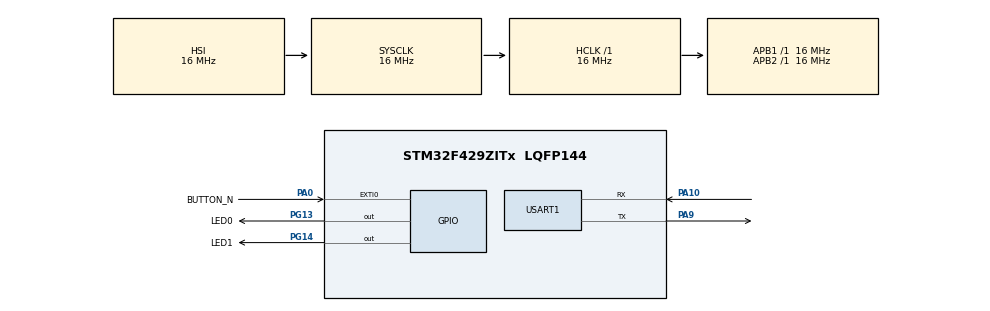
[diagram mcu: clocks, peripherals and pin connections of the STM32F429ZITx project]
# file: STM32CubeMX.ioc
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Mcu.Family=STM32F4
Mcu.Name=STM32F429ZITx
Mcu.Package=LQFP144
NVIC.EXTI0_IRQn=true\:0\:0\:false\:false\:true\:true\:true\:true
NVIC.PriorityGroup=NVIC_PRIORITYGROUP_4
NVIC.USART1_IRQn=true\:0\:0\:false\:false\:true\:true\:true\:true
PA0/WKUP.GPIO_Label=BUTTON_N
PA0/WKUP.Signal=GPXTI0
PA10.Mode=Asynchronous
PA10.Signal=USART1_RX
PA9.Mode=Asynchronous
PA9.Signal=USART1_TX
PG13.GPIO_Label=LED0
PG13.Signal=GPIO_Output
PG14.GPIO_Label=LED1
PG14.Signal=GPIO_Output
ProjectManager.HeapSize=0x200
ProjectManager.StackSize=0x400
ProjectManager.TargetToolchain=MDK-ARM V5
RCC.AHBFreq_Value=16000000
RCC.APB1Freq_Value=16000000
RCC.APB2Freq_Value=16000000
RCC.CortexFreq_Value=16000000
RCC.HSE_VALUE=25000000
RCC.HSI_VALUE=16000000
RCC.LSE_VALUE=32768
RCC.SYSCLKFreq_VALUE=16000000
RCC.VCOOutputFreq_Value=192000000
USART1.VirtualMode=VM_ASYNC
board=custom

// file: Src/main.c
/* USER CODE BEGIN Header */
/**
  ******************************************************************************
  * @file           : main.c
  * @brief          : Main program body
  ******************************************************************************
  * @attention
  *
  * Copyright (c) 2026 STMicroelectronics.
  * All rights reserved.
  *
  * This software is licensed under terms that can be found in the LICENSE file
  * in the root directory of this software component.
  * If no LICENSE file comes with this software, it is provided AS-IS.
  *
  ******************************************************************************
  */
/* USER CODE END Header */
#include "main.h"
/* USER CODE BEGIN Includes */
#include <stdio.h>
#include "cmsis_os2.h"
#include <string.h>
#include <stdarg.h>
#include <stdlib.h>
/* USER CODE END Includes */

UART_HandleTypeDef huart1;

void SystemClock_Config(void);
static void MX_GPIO_Init(void);
static void MX_USART1_UART_Init(void);
/* USER CODE BEGIN PFP */
extern int stdio_init     (void);
/* USER CODE END PFP */

/* USER CODE BEGIN 0 */

int add(int i, int j)
{
	return i+j;
}

int substract(int i, int j)
{
	return i-j;
}

int operate( int (*op) (int,int), int i, int j)
{
	return op(i,j);
}

int demo_function_pointer()
{
	int i=5;
	int j=6;
	printf("som %d\n",operate(add,i,j));
	printf("verschil %d\n",operate(substract,i,j));
	return 0;
}

int sum(int count, int* total, ...)
{
	va_list args;
	va_start(args,total);
	*total = 0;
	for(int i=0;i<count;i++)
	{
		*total+= va_arg(args, int);
	}
	return 0;
}

int oefening3()
{

	//char dest[10] = {'\0'};
	//char * dest=calloc(10,sizeof(char));
	char *dest=malloc(10*sizeof(char));
	if(dest==NULL)
		return -1;
	memset(dest,0,10*sizeof(char));
	char src[] = "Dit is een string langer dan 10 karakters";
	printf("lengte src %d %d \n", strlen(src), sizeof(src));
	strncpy(dest,src,sizeof(dest)-1);
	printf("dest: %s\n",dest);
	free(dest);
	return 0;

}

void swap(int *p_a, int *p_b)
{
	int a=*p_a;
	int b=*p_b;
	a=a ^ b;
	b= a ^b;
	a= a^b;
	printf("in swap routine: a is %d, b is %d\n",a,b);
	*p_a=a;
	*p_b=b;
}

__NO_RETURN static void app_main (void *argument) {
  (void)argument;
  // ...

	int a=5;
	int b=77;
	swap(&a,&b);
	printf("a is %d, b is %d\n",a,b);

	oefening3();
	int total;
	sum(4,&total,1,2,3,4);
	printf("som is %d\n",total);

	demo_function_pointer();

  for (;;) {
	  printf("Hello World\n");
		HAL_GPIO_TogglePin(LED0_GPIO_Port,LED0_Pin);
		HAL_Delay(1000);
	}
}
/* USER CODE END 0 */

int main(void)
{

  /* MCU Configuration--------------------------------------------------------*/

  /* Reset of all peripherals, Initializes the Flash interface and the Systick. */
  HAL_Init();

  /* Configure the system clock */
  SystemClock_Config();

  /* Initialize all configured peripherals */
  MX_GPIO_Init();
  MX_USART1_UART_Init();
  /* USER CODE BEGIN 2 */
	stdio_init();
  /* USER CODE END 2 */

  /* Infinite loop */
  /* USER CODE BEGIN WHILE */
	// System Initialization
  SystemCoreClockUpdate();
  // ...

  osKernelInitialize();                 // Initialize CMSIS-RTOS
  osThreadNew(app_main, NULL, NULL);    // Create application main thread
  osKernelStart();                      // Start thread execution
  for (;;) {}

  while (1)
  {
    /* USER CODE END WHILE */

  }
}

void SystemClock_Config(void)
{
  RCC_OscInitTypeDef RCC_OscInitStruct = {0};
  RCC_ClkInitTypeDef RCC_ClkInitStruct = {0};

  /** Configure the main internal regulator output voltage
  */
  __HAL_RCC_PWR_CLK_ENABLE();
  __HAL_PWR_VOLTAGESCALING_CONFIG(PWR_REGULATOR_VOLTAGE_SCALE3);

  /** Initializes the RCC Oscillators according to the specified parameters
  * in the RCC_OscInitTypeDef structure.
  */
  RCC_OscInitStruct.OscillatorType = RCC_OSCILLATORTYPE_HSI;
  RCC_OscInitStruct.HSIState = RCC_HSI_ON;
  RCC_OscInitStruct.HSICalibrationValue = RCC_HSICALIBRATION_DEFAULT;
  RCC_OscInitStruct.PLL.PLLState = RCC_PLL_NONE;
  if (HAL_RCC_OscConfig(&RCC_OscInitStruct) != HAL_OK)
  {
    Error_Handler();
  }

  /** Initializes the CPU, AHB and APB buses clocks
  */
  RCC_ClkInitStruct.ClockType = RCC_CLOCKTYPE_HCLK|RCC_CLOCKTYPE_SYSCLK
                              |RCC_CLOCKTYPE_PCLK1|RCC_CLOCKTYPE_PCLK2;
  RCC_ClkInitStruct.SYSCLKSource = RCC_SYSCLKSOURCE_HSI;
  RCC_ClkInitStruct.AHBCLKDivider = RCC_SYSCLK_DIV1;
  RCC_ClkInitStruct.APB1CLKDivider = RCC_HCLK_DIV1;
  RCC_ClkInitStruct.APB2CLKDivider = RCC_HCLK_DIV1;

  if (HAL_RCC_ClockConfig(&RCC_ClkInitStruct, FLASH_LATENCY_0) != HAL_OK)
  {
    Error_Handler();
  }
}

static void MX_USART1_UART_Init(void)
{

  huart1.Instance = USART1;
  huart1.Init.BaudRate = 115200;
  huart1.Init.WordLength = UART_WORDLENGTH_8B;
  huart1.Init.StopBits = UART_STOPBITS_1;
  huart1.Init.Parity = UART_PARITY_NONE;
  huart1.Init.Mode = UART_MODE_TX_RX;
  huart1.Init.HwFlowCtl = UART_HWCONTROL_NONE;
  huart1.Init.OverSampling = UART_OVERSAMPLING_16;
  if (HAL_UART_Init(&huart1) != HAL_OK)
  {
    Error_Handler();
  }

}

static void MX_GPIO_Init(void)
{
  GPIO_InitTypeDef GPIO_InitStruct = {0};

  /* GPIO Ports Clock Enable */
  __HAL_RCC_GPIOA_CLK_ENABLE();
  __HAL_RCC_GPIOG_CLK_ENABLE();

  /*Configure GPIO pin Output Level */
  HAL_GPIO_WritePin(GPIOG, LED0_Pin|LED1_Pin, GPIO_PIN_RESET);

  /*Configure GPIO pin : BUTTON_N_Pin */
  GPIO_InitStruct.Pin = BUTTON_N_Pin;
  GPIO_InitStruct.Mode = GPIO_MODE_IT_RISING;
  GPIO_InitStruct.Pull = GPIO_NOPULL;
  HAL_GPIO_Init(BUTTON_N_GPIO_Port, &GPIO_InitStruct);

  /*Configure GPIO pins : LED0_Pin LED1_Pin */
  GPIO_InitStruct.Pin = LED0_Pin|LED1_Pin;
  GPIO_InitStruct.Mode = GPIO_MODE_OUTPUT_PP;
  GPIO_InitStruct.Pull = GPIO_NOPULL;
  GPIO_InitStruct.Speed = GPIO_SPEED_FREQ_LOW;
  HAL_GPIO_Init(GPIOG, &GPIO_InitStruct);

  /* EXTI interrupt init*/
  HAL_NVIC_SetPriority(EXTI0_IRQn, 0, 0);
  HAL_NVIC_EnableIRQ(EXTI0_IRQn);

}

/* USER CODE BEGIN 4 */

void HAL_GPIO_EXTI_Callback(uint16_t GPIO_Pin)
{
	if (GPIO_Pin==BUTTON_N_Pin)
		HAL_GPIO_TogglePin(LED1_GPIO_Port, LED1_Pin);
}

/* USER CODE END 4 */

void HAL_TIM_PeriodElapsedCallback(TIM_HandleTypeDef *htim)
{
  if (htim->Instance == TIM8)
  {
    HAL_IncTick();
  }
}

void Error_Handler(void)
{
  __disable_irq();
  while (1)
  {
  }
}
